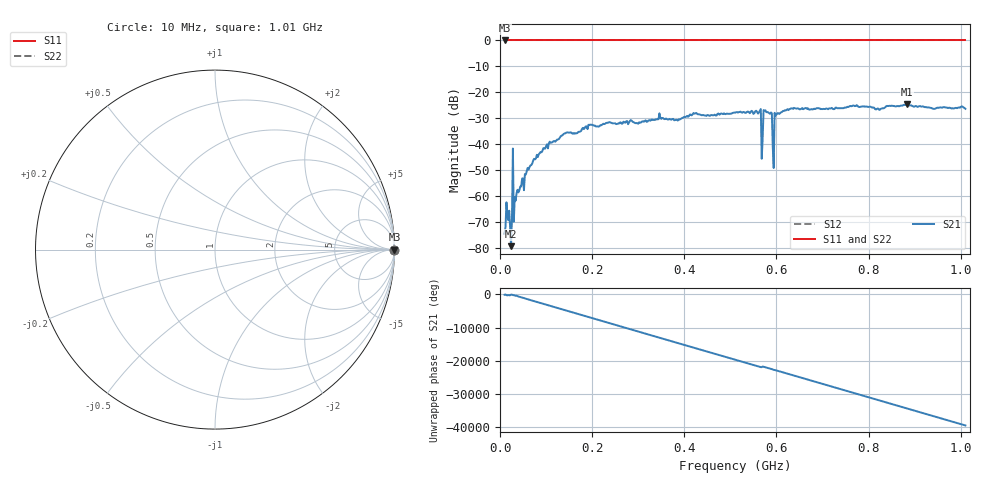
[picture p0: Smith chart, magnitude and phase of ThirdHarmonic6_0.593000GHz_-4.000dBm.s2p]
! 8/15/2025 7:15:57 PM
! C:\ANRITSUVNA\TEMP\TEMP.S2P
! CHANNEL.1
! TR.MEASUREMENT
! RAW.DATA
! RF.CORRECTION.OFF
! AVERAGING.OFF
! IF.BANDWIDTH: 5KHZ
! SWEEPTYPE:  FREQ.SWEEP(Linear)
! Reference Plane Port Info
! PORT:  PORT1  PORT2
! DISTANCE:  0  m  0  m
! TIME:  0  s  0  s
! PHASE.OFFSET:  0  deg.  0  deg.
! LOSS:  0  dB  0  dB
! REF.LOSS:  0  dB  0  dB
! REF.FREQ:  0  Hz  0  Hz
! Power Info
! POWER:  -20  dBm  -20  dBm
! EFF.POWER:  -20  dBm  -20  dBm
! SOURCE.ATTEN:  0  dB  0  dB
! TEST.ATTEN:  0  dB  0  dB
# GHZ S RI R 50.0
! FREQ.GHZ  S11RE  S11IM  S21RE  S21IM  S12RE  S12IM  S22RE  S22IM
!; PortSelection: Port_12
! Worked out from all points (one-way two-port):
!   501 points, 10 MHz to 1.01 GHz, reference 50 ohm
!   highest |S21| = -24.60 dB at 884 MHz (marker M1); lowest = -79.2 dB at 24 MHz (marker M2)
!   lowest |S11| = 0.0 dB at 10 MHz (marker M3)
!   |S11| at or under -10 dB: nowhere
!   |S22| runs from 0.0 to 0.0 dB; largest |S21 - S12| = 1.1
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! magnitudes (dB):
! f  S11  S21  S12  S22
! 10 MHz  0.0  -74.4  0.0  0.0
! 16 MHz  0.0  -67.6  0.0  0.0
! 22 MHz  0.0  -71.9  0.0  0.0
! 24 MHz  0.0  -79.2  0.0  0.0
! 32 MHz  0.0  -60.2  0.0  0.0
! 34 MHz  0.0  -61.6  0.0  0.0
! 76 MHz  0.0  -45.8  0.0  0.0
! 178 MHz  0.0  -34.0  0.0  0.0
! 344 MHz  0.0  -30.3  0.0  0.0
! 510 MHz  0.0  -27.8  0.0  0.0
! 562 MHz  0.0  -27.7  0.0  0.0
! 566 MHz  0.0  -26.4  0.0  0.0
! 572 MHz  0.0  -26.8  0.0  0.0
! 576 MHz  0.0  -26.9  0.0  0.0
! 586 MHz  0.0  -28.2  0.0  0.0
! 590 MHz  0.0  -28.0  0.0  0.0
! 596 MHz  0.0  -27.8  0.0  0.0
! 600 MHz  0.0  -28.5  0.0  0.0
! 678 MHz  0.0  -26.5  0.0  0.0
! 844 MHz  0.0  -25.2  0.0  0.0
! 884 MHz  0.0  -24.6  0.0  0.0
! 1.01 GHz  0.0  -26.3  0.0  0.0
